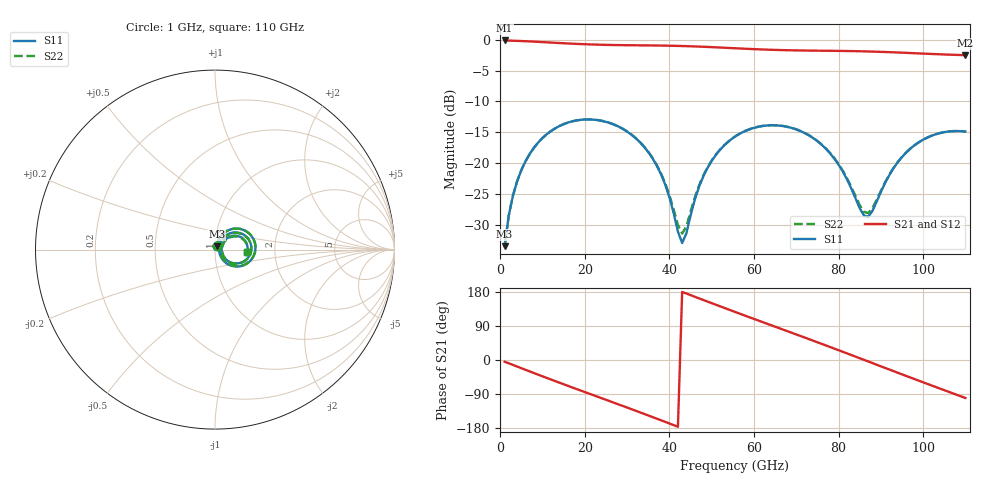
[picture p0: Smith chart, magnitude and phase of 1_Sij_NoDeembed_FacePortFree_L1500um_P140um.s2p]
! Touchstone file exported from HFSS 2024.2.0
!  File:  C:/Users/vaintrug/Documents/Ansoft_Workspace/Comparaison_Calculs_HFSS/1_VarPort.aedt
!  Generated:  03:22:16 PM Jan 21, 2025
!  Design:  1_NoDeembed_FacePortFree
!  Project:  1_VarPort
!  Setup:  Setup1
!  Solution:  Sweep
! Variables:
!  $Lenght = 1500um
!  $PortSize = 140um
!  Gap = 30um
!  Th = 2um
!  X_centralStrip = 20um
!  X_masse = 200um
!  Y_Sub = 1.5mm
!  Z_Box = 400um
!  Z_Sub = 200um
# GHz S MA R 50.000000
! Terminal data exported
! Port[1] = 1
! Port[2] = 2
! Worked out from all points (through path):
!   110 points, 1 GHz to 110 GHz, reference 50 ohm
!   highest |S21| = -0.10 dB at 1 GHz (marker M1); lowest = -2.5 dB at 110 GHz (marker M2)
!   group delay of S21, straight-line fit = 11.6 ps
!   lowest |S11| = -33.5 dB at 1 GHz (marker M3), VSWR 1.04, Z = 50.9 + j1.92 ohm
!   |S11| at or under -10 dB: start of sweep to end of sweep
!   |S22| runs from -33.5 to -12.9 dB; largest |S21 - S12| = 1.6e-14
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1  0.02118 63.0  0.9891 -4.4  0.9891 -4.4  0.02118 63.0
! Gamma 5.73525766176493 49.8622385764345 5.7859940968301 49.8651109923038
! Port Impedance 50 0 50 0
2  0.0379 69.7  0.9865 -8.8  0.9865 -8.8  0.0379 69.7
3  0.05496 70.0  0.984 -13.1  0.984 -13.1  0.05496 70.0
7  0.1196 58.3  0.9711 -30.4  0.9711 -30.4  0.1196 58.5
14  0.2001 31.1  0.9426 -60.0  0.9426 -60.0  0.2001 31.3
20  0.2259 7.7  0.9218 -84.7  0.9218 -84.7  0.226 8.2
29  0.1892 -25.9  0.9059 -121.5  0.9059 -121.5  0.1896 -25.0
34  0.1355 -42.8  0.9022 -142.3  0.9022 -142.3  0.1362 -41.3
38  0.08113 -52.3  0.8989 -159.1  0.8989 -159.1  0.08243 -49.6
43  0.02245 -0.2  0.8914 179.6  0.8914 179.6  0.02684 -0.1
47  0.06437 55.3  0.8819 162.6  0.8819 162.6  0.06592 51.6
49  0.09145 53.6  0.8761 154.2  0.8761 154.2  0.09249 50.9
56  0.1681 33.2  0.8534 124.8  0.8534 124.8  0.1686 31.8
65  0.2026 2.0  0.8291 87.9  0.8291 87.9  0.203 1.2
74  0.1595 -27.7  0.8179 50.9  0.8179 50.9  0.1602 -27.9
80  0.09712 -41.4  0.8137 25.9  0.8137 25.9  0.09835 -41.1
86  0.03755 -10.6  0.8069 0.4  0.8069 0.4  0.04021 -11.1
88  0.04082 22.9  0.8034 -8.1  0.8034 -8.1  0.043 19.8
92  0.07987 43.7  0.7948 -25.1  0.7948 -25.1  0.08064 40.9
96  0.1219 38.5  0.7845 -42.0  0.7845 -42.0  0.1221 36.4
101  0.1613 24.9  0.771 -63.0  0.771 -63.0  0.1613 23.1
110  0.1802 -3.4  0.7516 -100.3  0.7516 -100.3  0.1801 -5.0
